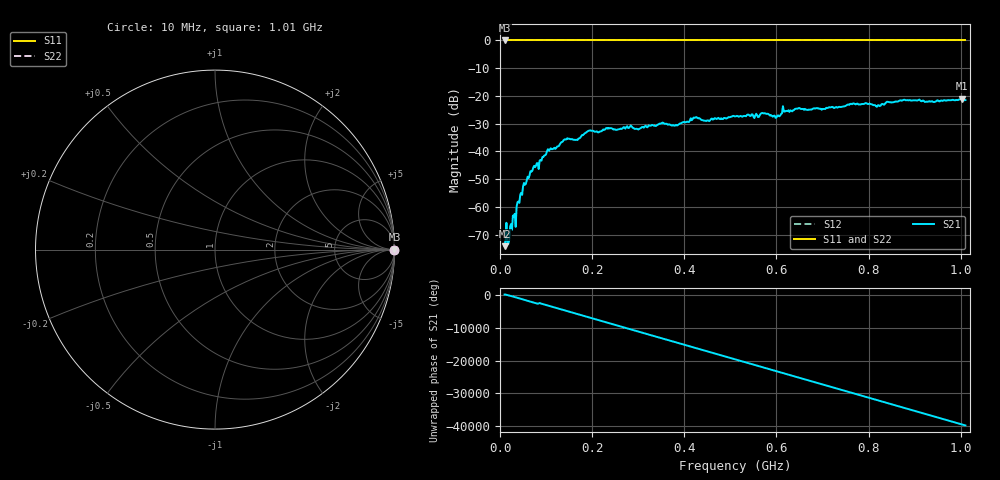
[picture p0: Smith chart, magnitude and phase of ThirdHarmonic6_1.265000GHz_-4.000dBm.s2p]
! 8/16/2025 1:37:58 PM
! C:\ANRITSUVNA\TEMP\TEMP.S2P
! CHANNEL.1
! TR.MEASUREMENT
! RAW.DATA
! RF.CORRECTION.OFF
! AVERAGING.OFF
! IF.BANDWIDTH: 5KHZ
! SWEEPTYPE:  FREQ.SWEEP(Linear)
! Reference Plane Port Info
! PORT:  PORT1  PORT2
! DISTANCE:  0  m  0  m
! TIME:  0  s  0  s
! PHASE.OFFSET:  0  deg.  0  deg.
! LOSS:  0  dB  0  dB
! REF.LOSS:  0  dB  0  dB
! REF.FREQ:  0  Hz  0  Hz
! Power Info
! POWER:  -20  dBm  -20  dBm
! EFF.POWER:  -20  dBm  -20  dBm
! SOURCE.ATTEN:  0  dB  0  dB
! TEST.ATTEN:  0  dB  0  dB
# GHZ S RI R 50.0
! FREQ.GHZ  S11RE  S11IM  S21RE  S21IM  S12RE  S12IM  S22RE  S22IM
!; PortSelection: Port_12
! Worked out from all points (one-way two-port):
!   501 points, 10 MHz to 1.01 GHz, reference 50 ohm
!   highest |S21| = -20.96 dB at 1.002 GHz (marker M1); lowest = -74.2 dB at 10 MHz (marker M2)
!   lowest |S11| = 0.0 dB at 10 MHz (marker M3)
!   |S11| at or under -10 dB: nowhere
!   |S22| runs from 0.0 to 0.0 dB; largest |S21 - S12| = 1.1
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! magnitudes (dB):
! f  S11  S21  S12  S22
! 10 MHz  0.0  -74.2  0.0  0.0
! 20 MHz  0.0  -72.1  0.0  0.0
! 26 MHz  0.0  -68.3  0.0  0.0
! 30 MHz  0.0  -63.6  0.0  0.0
! 48 MHz  0.0  -55.7  0.0  0.0
! 70 MHz  0.0  -47.0  0.0  0.0
! 106 MHz  0.0  -39.7  0.0  0.0
! 142 MHz  0.0  -35.7  0.0  0.0
! 178 MHz  0.0  -34.1  0.0  0.0
! 196 MHz  0.0  -32.4  0.0  0.0
! 344 MHz  0.0  -30.3  0.0  0.0
! 382 MHz  0.0  -30.4  0.0  0.0
! 510 MHz  0.0  -27.4  0.0  0.0
! 572 MHz  0.0  -26.3  0.0  0.0
! 602 MHz  0.0  -27.1  0.0  0.0
! 618 MHz  0.0  -25.7  0.0  0.0
! 678 MHz  0.0  -24.7  0.0  0.0
! 764 MHz  0.0  -23.0  0.0  0.0
! 820 MHz  0.0  -23.4  0.0  0.0
! 844 MHz  0.0  -22.2  0.0  0.0
! 1.002 GHz  0.0  -21.0  0.0  0.0
! 1.01 GHz  0.0  -21.5  0.0  0.0
